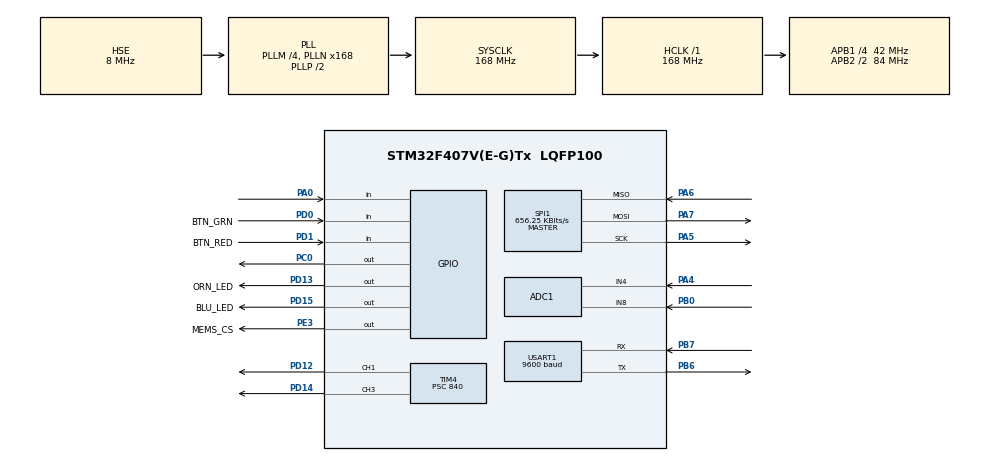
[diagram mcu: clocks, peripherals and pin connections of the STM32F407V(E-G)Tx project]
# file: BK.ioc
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ADC1.Channel-0\#ChannelRegularConversion=ADC_CHANNEL_4
ADC1.Channel-1\#ChannelRegularConversion=ADC_CHANNEL_8
ADC1.ClockPrescaler=ADC_CLOCK_SYNC_PCLK_DIV8
ADC1.ContinuousConvMode=ENABLE
ADC1.DMAContinuousRequests=ENABLE
ADC1.NbrOfConversion=2
ADC1.NbrOfConversionFlag=1
ADC1.Rank-0\#ChannelRegularConversion=1
ADC1.Rank-1\#ChannelRegularConversion=2
ADC1.SamplingTime-0\#ChannelRegularConversion=ADC_SAMPLETIME_480CYCLES
ADC1.SamplingTime-1\#ChannelRegularConversion=ADC_SAMPLETIME_480CYCLES
ADC1.ScanConvMode=ENABLE
ADC1.master=1
Dma.ADC1.0.Direction=DMA_PERIPH_TO_MEMORY
Dma.ADC1.0.FIFOMode=DMA_FIFOMODE_DISABLE
Dma.ADC1.0.Instance=DMA2_Stream0
Dma.ADC1.0.MemDataAlignment=DMA_MDATAALIGN_WORD
Dma.ADC1.0.MemInc=DMA_MINC_ENABLE
Dma.ADC1.0.Mode=DMA_CIRCULAR
Dma.ADC1.0.PeriphDataAlignment=DMA_PDATAALIGN_WORD
Dma.ADC1.0.PeriphInc=DMA_PINC_DISABLE
Dma.ADC1.0.Priority=DMA_PRIORITY_LOW
Dma.Request0=ADC1
Mcu.Family=STM32F4
Mcu.Name=STM32F407V(E-G)Tx
Mcu.Package=LQFP100
NVIC.DMA2_Stream0_IRQn=true\:0\:0\:false\:false\:true\:false\:true
NVIC.PriorityGroup=NVIC_PRIORITYGROUP_0
NVIC.TIM2_IRQn=true\:0\:0\:false\:false\:true\:true\:true
NVIC.USART1_IRQn=true\:0\:0\:false\:false\:true\:true\:true
PA0-WKUP.Signal=GPIO_Input
PA4.Signal=ADCx_IN4
PA5.Mode=Full_Duplex_Master
PA5.Signal=SPI1_SCK
PA6.Mode=Full_Duplex_Master
PA6.Signal=SPI1_MISO
PA7.Mode=Full_Duplex_Master
PA7.Signal=SPI1_MOSI
PB0.Signal=ADCx_IN8
PB6.Mode=Asynchronous
PB6.Signal=USART1_TX
PB7.Mode=Asynchronous
PB7.Signal=USART1_RX
PC0.Signal=GPIO_Output
PD0.GPIO_Label=BTN_GRN
PD0.GPIO_PuPd=GPIO_PULLUP
PD0.Signal=GPIO_Input
PD1.GPIO_Label=BTN_RED
PD1.GPIO_PuPd=GPIO_PULLUP
PD1.Signal=GPIO_Input
PD12.Signal=S_TIM4_CH1
PD13.GPIO_Label=ORN_LED
PD13.Signal=GPIO_Output
PD14.Signal=S_TIM4_CH3
PD15.GPIO_Label=BLU_LED
PD15.Signal=GPIO_Output
PE3.GPIO_Label=MEMS_CS
PE3.Signal=GPIO_Output
PH0-OSC_IN.Mode=HSE-External-Oscillator
PH0-OSC_IN.Signal=RCC_OSC_IN
PH1-OSC_OUT.Mode=HSE-External-Oscillator
PH1-OSC_OUT.Signal=RCC_OSC_OUT
ProjectManager.HeapSize=0x200
ProjectManager.StackSize=0x400
ProjectManager.TargetToolchain=STM32CubeIDE
RCC.48MHZClocksFreq_Value=48000000
RCC.AHBFreq_Value=168000000
RCC.APB1CLKDivider=RCC_HCLK_DIV4
RCC.APB1Freq_Value=42000000
RCC.APB1TimFreq_Value=84000000
RCC.APB2CLKDivider=RCC_HCLK_DIV2
RCC.APB2Freq_Value=84000000
RCC.APB2TimFreq_Value=168000000
RCC.CortexFreq_Value=168000000
RCC.HCLKFreq_Value=168000000
RCC.HSE_VALUE=8000000
RCC.HSI_VALUE=16000000
RCC.LSE_VALUE=32768
RCC.PLLM=4
RCC.PLLN=168
RCC.PLLQ=7
RCC.PLLSourceVirtual=RCC_PLLSOURCE_HSE
RCC.SYSCLKFreq_VALUE=168000000
RCC.SYSCLKSource=RCC_SYSCLKSOURCE_PLLCLK
RCC.VCOOutputFreq_Value=336000000
SH.ADCx_IN4.0=ADC1_IN4,IN4
SH.ADCx_IN8.0=ADC1_IN8,IN8
SH.S_TIM4_CH1.0=TIM4_CH1,PWM Generation1 CH1
SH.S_TIM4_CH3.0=TIM4_CH3,PWM Generation3 CH3
SPI1.BaudRatePrescaler=SPI_BAUDRATEPRESCALER_128
SPI1.CalculateBaudRate=656.25 KBits/s
SPI1.Direction=SPI_DIRECTION_2LINES
SPI1.Mode=SPI_MODE_MASTER
SPI1.VirtualType=VM_MASTER
TIM2.Period=1
TIM2.Prescaler=42000
TIM4.Channel-PWM\ Generation1\ CH1=TIM_CHANNEL_1
TIM4.Channel-PWM\ Generation3\ CH3=TIM_CHANNEL_3
TIM4.Period=100
TIM4.Prescaler=840
TIM4.Pulse-PWM\ Generation1\ CH1=100
TIM4.Pulse-PWM\ Generation3\ CH3=100
TIM4.TIM_MasterOutputTrigger=TIM_TRGO_UPDATE
USART1.BaudRate=9600
USART1.VirtualMode=VM_ASYNC
VP_TIM2_VS_ClockSourceINT.Mode=Internal
VP_TIM4_VS_ClockSourceINT.Mode=Internal
board=STM32F407G-DISC1

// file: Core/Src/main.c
/* USER CODE BEGIN Header */
/**
  ******************************************************************************
  * @file           : main.c
  * @brief          : Main program body
  ******************************************************************************
  * @attention
  *
  * <h2><center>&copy; Copyright (c) 2020 STMicroelectronics.
  * All rights reserved.</center></h2>
  *
  * This software component is licensed by ST under Ultimate Liberty license
  * SLA0044, the "License"; You may not use this file except in compliance with
  * the License. You may obtain a copy of the License at:
  *                             www.st.com/SLA0044
  *
  ******************************************************************************
  */
/* USER CODE END Header */
#include "main.h"

/* USER CODE BEGIN Includes */
#include <stdio.h>
#include "MY_LIS3DSH.h"
/* USER CODE END Includes */

ADC_HandleTypeDef hadc1;
DMA_HandleTypeDef hdma_adc1;

SPI_HandleTypeDef hspi1;

TIM_HandleTypeDef htim2;
TIM_HandleTypeDef htim4;

UART_HandleTypeDef huart1;

/* USER CODE BEGIN PV */

//------------------------------------------------------------------------------------- UART variables
uint8_t U1_RxChar;

//------------------------------------------------------------------------------------- ADC variables
uint32_t ADC1_Values[2];							// DMA puts integer conversions here
float ADC1_4V;                        // We convert to volts and save it in these variables
float ADC1_8V;

// ------------ Utility Timer Variables
uint16_t B1dbTimer;
uint8_t B1Pressed_F;
uint8_t B1ActionTaken_F;
uint16_t B1HoldTime;

uint16_t BGrnDbTimer;
uint8_t BGrnPressed_F;
uint8_t BGrnActionTaken_F;
uint16_t BGrnHoldTime;

uint16_t BRedDbTimer;
uint8_t BRedPressed_F;
uint8_t BRedActionTaken_F;
uint16_t BRedHoldTime;

// msec Timing: Make utility timers 16-bit
uint16_t TestTimer;

// sec Timing
uint16_t SecsCounter;

// LED Direction
uint8_t LEDDirection = CLOCKWISE;
uint8_t LEDStates[] = { LED_RED, LED_BLU, LED_GRN, LED_ORN };
uint8_t LEDCount = 4;
uint8_t LEDStatesIndex = 0;
uint16_t LEDWaitTimeMs = 1000;

/* USER CODE END PV */

void SystemClock_Config(void);
static void MX_GPIO_Init(void);
static void MX_TIM2_Init(void);
static void MX_DMA_Init(void);
static void MX_ADC1_Init(void);
static void MX_USART1_UART_Init(void);
static void MX_SPI1_Init(void);
static void MX_TIM4_Init(void);
/* USER CODE BEGIN PFP */
void CheckSWs(void);
void CheckPots(void);
void SwitchLED(uint8_t oldState, uint8_t newState);
void UpdateLEDState(void);
void handleBtn1Pressed(void);
void handleBtnGrnPressed(void);
void handleBtnRedPressed(void);
void UpdateAccelerometerLEDState(void);
/* USER CODE END PFP */

/* USER CODE BEGIN 0 */

LIS3DSH_DataScaled myData;  // for accelerometer

/* USER CODE END 0 */

int main(void)
{
  /* USER CODE BEGIN 1 */
  char WorkStr[32];

  LIS3DSH_InitTypeDef myAccConfigDef;

  /* USER CODE END 1 */

  /* MCU Configuration--------------------------------------------------------*/

  /* Reset of all peripherals, Initializes the Flash interface and the Systick. */
  HAL_Init();

  /* Configure the system clock */
  SystemClock_Config();

  /* Initialize all configured peripherals */
  MX_GPIO_Init();
  MX_TIM2_Init();
  MX_DMA_Init();
  MX_ADC1_Init();
  MX_USART1_UART_Init();
  MX_SPI1_Init();
  MX_TIM4_Init();
  /* USER CODE BEGIN 2 */
  HAL_TIM_Base_Start_IT(&htim2);
  USART1->CR1 |= 1<<5;  //USART1_CR1_RE;  // Enable RXNE interrupt (receiver not empty)
  HAL_ADC_Start_DMA(&hadc1, (uint32_t *) ADC1_Values, 2);

  // Accelerometer...
  myAccConfigDef.dataRate = LIS3DSH_DATARATE_25;
  myAccConfigDef.fullScale = LIS3DSH_FULLSCALE_4;
  myAccConfigDef.antiAliasingBW = LIS3DSH_FILTER_BW_50;
  myAccConfigDef.enableAxes = LIS3DSH_XYZ_ENABLE;
  myAccConfigDef.interruptEnable = true;
  LIS3DSH_Init(&hspi1, &myAccConfigDef);

  LIS3DSH_X_calibrate(-1000.0, 980.0);
  LIS3DSH_Y_calibrate(-1020.0, 1040.0);
  LIS3DSH_Z_calibrate(-920.0, 1040.0);

  // TestTimer for Pulse Width Modulation
  HAL_TIM_PWM_Start(&htim4, TIM_CHANNEL_1);
  HAL_TIM_PWM_Start(&htim4, TIM_CHANNEL_3);

  TestTimer = 1000;
  TIM4-> CCR1 = 100;
  TIM4-> CCR3 = 0;

  /* USER CODE END 2 */

  /* Infinite loop */
  while (1)
  {

    /* USER CODE BEGIN 3 */

    if(LIS3DSH_PollDRDY(1000) == true)
    {
      myData = LIS3DSH_GetDataScaled();
//      HAL_GPIO_TogglePin(GPIOD, GPIO_PIN_12);
    }

    if (!TestTimer)
    {
      TestTimer = 1000;
      if ( TIM4->CCR1 <= 90 )
        TIM4->CCR1 += 10;
      else
        TIM4->CCR1 = 0;

      if ( TIM4->CCR3 >= 10 )
        TIM4->CCR3 -= 10;
      else
        TIM4->CCR3 = 100;
    }

//    CheckPots();
//    CheckSWs();
//    UpdateAccelerometerLEDState();
//    UpdateLEDState();

  }
  /* USER CODE END 3 */
}

void SystemClock_Config(void)
{
  RCC_OscInitTypeDef RCC_OscInitStruct = {0};
  RCC_ClkInitTypeDef RCC_ClkInitStruct = {0};

  /** Configure the main internal regulator output voltage
  */
  __HAL_RCC_PWR_CLK_ENABLE();
  __HAL_PWR_VOLTAGESCALING_CONFIG(PWR_REGULATOR_VOLTAGE_SCALE1);
  /** Initializes the RCC Oscillators according to the specified parameters
  * in the RCC_OscInitTypeDef structure.
  */
  RCC_OscInitStruct.OscillatorType = RCC_OSCILLATORTYPE_HSE;
  RCC_OscInitStruct.HSEState = RCC_HSE_ON;
  RCC_OscInitStruct.PLL.PLLState = RCC_PLL_ON;
  RCC_OscInitStruct.PLL.PLLSource = RCC_PLLSOURCE_HSE;
  RCC_OscInitStruct.PLL.PLLM = 4;
  RCC_OscInitStruct.PLL.PLLN = 168;
  RCC_OscInitStruct.PLL.PLLP = RCC_PLLP_DIV2;
  RCC_OscInitStruct.PLL.PLLQ = 7;
  if (HAL_RCC_OscConfig(&RCC_OscInitStruct) != HAL_OK)
  {
    Error_Handler();
  }
  /** Initializes the CPU, AHB and APB buses clocks
  */
  RCC_ClkInitStruct.ClockType = RCC_CLOCKTYPE_HCLK|RCC_CLOCKTYPE_SYSCLK
                              |RCC_CLOCKTYPE_PCLK1|RCC_CLOCKTYPE_PCLK2;
  RCC_ClkInitStruct.SYSCLKSource = RCC_SYSCLKSOURCE_PLLCLK;
  RCC_ClkInitStruct.AHBCLKDivider = RCC_SYSCLK_DIV1;
  RCC_ClkInitStruct.APB1CLKDivider = RCC_HCLK_DIV4;
  RCC_ClkInitStruct.APB2CLKDivider = RCC_HCLK_DIV2;

  if (HAL_RCC_ClockConfig(&RCC_ClkInitStruct, FLASH_LATENCY_5) != HAL_OK)
  {
    Error_Handler();
  }
}

static void MX_ADC1_Init(void)
{

  ADC_ChannelConfTypeDef sConfig = {0};

  /** Configure the global features of the ADC (Clock, Resolution, Data Alignment and number of conversion)
  */
  hadc1.Instance = ADC1;
  hadc1.Init.ClockPrescaler = ADC_CLOCK_SYNC_PCLK_DIV8;
  hadc1.Init.Resolution = ADC_RESOLUTION_12B;
  hadc1.Init.ScanConvMode = ENABLE;
  hadc1.Init.ContinuousConvMode = ENABLE;
  hadc1.Init.DiscontinuousConvMode = DISABLE;
  hadc1.Init.ExternalTrigConvEdge = ADC_EXTERNALTRIGCONVEDGE_NONE;
  hadc1.Init.ExternalTrigConv = ADC_SOFTWARE_START;
  hadc1.Init.DataAlign = ADC_DATAALIGN_RIGHT;
  hadc1.Init.NbrOfConversion = 2;
  hadc1.Init.DMAContinuousRequests = ENABLE;
  hadc1.Init.EOCSelection = ADC_EOC_SINGLE_CONV;
  if (HAL_ADC_Init(&hadc1) != HAL_OK)
  {
    Error_Handler();
  }
  /** Configure for the selected ADC regular channel its corresponding rank in the sequencer and its sample time.
  */
  sConfig.Channel = ADC_CHANNEL_4;
  sConfig.Rank = 1;
  sConfig.SamplingTime = ADC_SAMPLETIME_480CYCLES;
  if (HAL_ADC_ConfigChannel(&hadc1, &sConfig) != HAL_OK)
  {
    Error_Handler();
  }
  /** Configure for the selected ADC regular channel its corresponding rank in the sequencer and its sample time.
  */
  sConfig.Channel = ADC_CHANNEL_8;
  sConfig.Rank = 2;
  if (HAL_ADC_ConfigChannel(&hadc1, &sConfig) != HAL_OK)
  {
    Error_Handler();
  }

}

static void MX_SPI1_Init(void)
{

  /* SPI1 parameter configuration*/
  hspi1.Instance = SPI1;
  hspi1.Init.Mode = SPI_MODE_MASTER;
  hspi1.Init.Direction = SPI_DIRECTION_2LINES;
  hspi1.Init.DataSize = SPI_DATASIZE_8BIT;
  hspi1.Init.CLKPolarity = SPI_POLARITY_LOW;
  hspi1.Init.CLKPhase = SPI_PHASE_1EDGE;
  hspi1.Init.NSS = SPI_NSS_SOFT;
  hspi1.Init.BaudRatePrescaler = SPI_BAUDRATEPRESCALER_128;
  hspi1.Init.FirstBit = SPI_FIRSTBIT_MSB;
  hspi1.Init.TIMode = SPI_TIMODE_DISABLE;
  hspi1.Init.CRCCalculation = SPI_CRCCALCULATION_DISABLE;
  hspi1.Init.CRCPolynomial = 10;
  if (HAL_SPI_Init(&hspi1) != HAL_OK)
  {
    Error_Handler();
  }

}

static void MX_TIM2_Init(void)
{

  TIM_ClockConfigTypeDef sClockSourceConfig = {0};
  TIM_MasterConfigTypeDef sMasterConfig = {0};

  htim2.Instance = TIM2;
  htim2.Init.Prescaler = 42000;
  htim2.Init.CounterMode = TIM_COUNTERMODE_UP;
  htim2.Init.Period = 1;
  htim2.Init.ClockDivision = TIM_CLOCKDIVISION_DIV1;
  htim2.Init.AutoReloadPreload = TIM_AUTORELOAD_PRELOAD_DISABLE;
  if (HAL_TIM_Base_Init(&htim2) != HAL_OK)
  {
    Error_Handler();
  }
  sClockSourceConfig.ClockSource = TIM_CLOCKSOURCE_INTERNAL;
  if (HAL_TIM_ConfigClockSource(&htim2, &sClockSourceConfig) != HAL_OK)
  {
    Error_Handler();
  }
  sMasterConfig.MasterOutputTrigger = TIM_TRGO_RESET;
  sMasterConfig.MasterSlaveMode = TIM_MASTERSLAVEMODE_DISABLE;
  if (HAL_TIMEx_MasterConfigSynchronization(&htim2, &sMasterConfig) != HAL_OK)
  {
    Error_Handler();
  }

}

static void MX_TIM4_Init(void)
{

  TIM_ClockConfigTypeDef sClockSourceConfig = {0};
  TIM_MasterConfigTypeDef sMasterConfig = {0};
  TIM_OC_InitTypeDef sConfigOC = {0};

  htim4.Instance = TIM4;
  htim4.Init.Prescaler = 840;
  htim4.Init.CounterMode = TIM_COUNTERMODE_UP;
  htim4.Init.Period = 100;
  htim4.Init.ClockDivision = TIM_CLOCKDIVISION_DIV1;
  htim4.Init.AutoReloadPreload = TIM_AUTORELOAD_PRELOAD_DISABLE;
  if (HAL_TIM_Base_Init(&htim4) != HAL_OK)
  {
    Error_Handler();
  }
  sClockSourceConfig.ClockSource = TIM_CLOCKSOURCE_INTERNAL;
  if (HAL_TIM_ConfigClockSource(&htim4, &sClockSourceConfig) != HAL_OK)
  {
    Error_Handler();
  }
  if (HAL_TIM_PWM_Init(&htim4) != HAL_OK)
  {
    Error_Handler();
  }
  sMasterConfig.MasterOutputTrigger = TIM_TRGO_UPDATE;
  sMasterConfig.MasterSlaveMode = TIM_MASTERSLAVEMODE_DISABLE;
  if (HAL_TIMEx_MasterConfigSynchronization(&htim4, &sMasterConfig) != HAL_OK)
  {
    Error_Handler();
  }
  sConfigOC.OCMode = TIM_OCMODE_PWM1;
  sConfigOC.Pulse = 100;
  sConfigOC.OCPolarity = TIM_OCPOLARITY_HIGH;
  sConfigOC.OCFastMode = TIM_OCFAST_DISABLE;
  if (HAL_TIM_PWM_ConfigChannel(&htim4, &sConfigOC, TIM_CHANNEL_1) != HAL_OK)
  {
    Error_Handler();
  }
  if (HAL_TIM_PWM_ConfigChannel(&htim4, &sConfigOC, TIM_CHANNEL_3) != HAL_OK)
  {
    Error_Handler();
  }
  HAL_TIM_MspPostInit(&htim4);

}

static void MX_USART1_UART_Init(void)
{

  huart1.Instance = USART1;
  huart1.Init.BaudRate = 9600;
  huart1.Init.WordLength = UART_WORDLENGTH_8B;
  huart1.Init.StopBits = UART_STOPBITS_1;
  huart1.Init.Parity = UART_PARITY_NONE;
  huart1.Init.Mode = UART_MODE_TX_RX;
  huart1.Init.HwFlowCtl = UART_HWCONTROL_NONE;
  huart1.Init.OverSampling = UART_OVERSAMPLING_16;
  if (HAL_UART_Init(&huart1) != HAL_OK)
  {
    Error_Handler();
  }

}

static void MX_DMA_Init(void)
{

  /* DMA controller clock enable */
  __HAL_RCC_DMA2_CLK_ENABLE();

  /* DMA interrupt init */
  /* DMA2_Stream0_IRQn interrupt configuration */
  HAL_NVIC_SetPriority(DMA2_Stream0_IRQn, 0, 0);
  HAL_NVIC_EnableIRQ(DMA2_Stream0_IRQn);

}

static void MX_GPIO_Init(void)
{
  GPIO_InitTypeDef GPIO_InitStruct = {0};

  /* GPIO Ports Clock Enable */
  __HAL_RCC_GPIOE_CLK_ENABLE();
  __HAL_RCC_GPIOH_CLK_ENABLE();
  __HAL_RCC_GPIOC_CLK_ENABLE();
  __HAL_RCC_GPIOA_CLK_ENABLE();
  __HAL_RCC_GPIOB_CLK_ENABLE();
  __HAL_RCC_GPIOD_CLK_ENABLE();

  /*Configure GPIO pin Output Level */
  HAL_GPIO_WritePin(MEMS_CS_GPIO_Port, MEMS_CS_Pin, GPIO_PIN_RESET);

  /*Configure GPIO pin Output Level */
  HAL_GPIO_WritePin(GPIOC, GPIO_PIN_0, GPIO_PIN_RESET);

  /*Configure GPIO pin Output Level */
  HAL_GPIO_WritePin(GPIOD, ORN_LED_Pin|BLU_LED_Pin, GPIO_PIN_RESET);

  /*Configure GPIO pin : MEMS_CS_Pin */
  GPIO_InitStruct.Pin = MEMS_CS_Pin;
  GPIO_InitStruct.Mode = GPIO_MODE_OUTPUT_PP;
  GPIO_InitStruct.Pull = GPIO_NOPULL;
  GPIO_InitStruct.Speed = GPIO_SPEED_FREQ_LOW;
  HAL_GPIO_Init(MEMS_CS_GPIO_Port, &GPIO_InitStruct);

  /*Configure GPIO pin : PC0 */
  GPIO_InitStruct.Pin = GPIO_PIN_0;
  GPIO_InitStruct.Mode = GPIO_MODE_OUTPUT_PP;
  GPIO_InitStruct.Pull = GPIO_NOPULL;
  GPIO_InitStruct.Speed = GPIO_SPEED_FREQ_LOW;
  HAL_GPIO_Init(GPIOC, &GPIO_InitStruct);

  /*Configure GPIO pin : PA0 */
  GPIO_InitStruct.Pin = GPIO_PIN_0;
  GPIO_InitStruct.Mode = GPIO_MODE_INPUT;
  GPIO_InitStruct.Pull = GPIO_NOPULL;
  HAL_GPIO_Init(GPIOA, &GPIO_InitStruct);

  /*Configure GPIO pins : ORN_LED_Pin BLU_LED_Pin */
  GPIO_InitStruct.Pin = ORN_LED_Pin|BLU_LED_Pin;
  GPIO_InitStruct.Mode = GPIO_MODE_OUTPUT_PP;
  GPIO_InitStruct.Pull = GPIO_NOPULL;
  GPIO_InitStruct.Speed = GPIO_SPEED_FREQ_LOW;
  HAL_GPIO_Init(GPIOD, &GPIO_InitStruct);

  /*Configure GPIO pins : BTN_GRN_Pin BTN_RED_Pin */
  GPIO_InitStruct.Pin = BTN_GRN_Pin|BTN_RED_Pin;
  GPIO_InitStruct.Mode = GPIO_MODE_INPUT;
  GPIO_InitStruct.Pull = GPIO_PULLUP;
  HAL_GPIO_Init(GPIOD, &GPIO_InitStruct);

}

/* USER CODE BEGIN 4 */
// Use TIM2 as 1ms utility timer...
void HAL_TIM_PeriodElapsedCallback(TIM_HandleTypeDef *htim)
{
	// --------------------------------------------
	// Millisecond timers:
	// --------------------------------------------

	// These timers can be disabled... Set the timer to TIMER_DISABLE (Defined as 0xFFFFFF) and then
	if (TestTimer)
		TestTimer--;

	++SecsCounter;
	if ( SecsCounter == 1000)
	{
		SecsCounter = 0;

		// Handle any 1 sec events or counters...
	}

	if ( B1 != BUTTON_PRESSED)
	{
		B1dbTimer = 0;
		B1Pressed_F = FALSE;
	}
	else
	{
		if (B1dbTimer < 255)
			++B1dbTimer;
		if ( B1dbTimer > DB_TIME )
			B1Pressed_F = TRUE;

	}

	if ( B_GRN != B_GRN_PRESSED)
	{
		BGrnDbTimer = 0;
		BGrnPressed_F = FALSE;
	}
	else
	{
		if (BGrnDbTimer < 255)
			++BGrnDbTimer;
		if ( BGrnDbTimer > DB_TIME )
			BGrnPressed_F = TRUE;
	}

	if ( B_RED != B_RED_PRESSED)
	{
		BRedDbTimer = 0;
		BRedPressed_F = FALSE;
	}
	else
	{
		if (BRedDbTimer < 255)
			++BRedDbTimer;
		if ( BRedDbTimer > DB_TIME )
			BRedPressed_F = TRUE;
	}

	LED_Timer++;
}

void CheckSWs(void)
{
	if (B1Pressed_F && !B1ActionTaken_F)
	{
		handleBtn1Pressed();
		B1ActionTaken_F = TRUE;
	}
	else if ( !B1Pressed_F && (B1ActionTaken_F))
	{
		B1ActionTaken_F = FALSE;
	}

	if (BGrnPressed_F && !BGrnActionTaken_F)
	{
		handleBtnGrnPressed();
		BGrnActionTaken_F = TRUE;
	}
	else if ( !BGrnPressed_F && (BGrnActionTaken_F))
	{
		BGrnActionTaken_F = FALSE;
	}

	if (BRedPressed_F && !BRedActionTaken_F)
	{
		handleBtnRedPressed();
		BRedActionTaken_F = TRUE;
	}
	else if ( !BRedPressed_F && (BRedActionTaken_F))
	{

		BRedActionTaken_F = FALSE;
	}
}

void CheckPots(void)
{
  LEDWaitTimeMs = abs((uint16_t) (1000.0 - (ADC1_4V / 3.3) * 1000.0));
}

void handleBtnRedPressed(void)
{
	if (LEDDirection == CLOCKWISE)
	{
		LEDDirection = COUNTERCLOCKWISE;
	}
	else
	{
		LEDDirection = CLOCKWISE;
	}
}

void handleBtnGrnPressed(void)
{
	if (LED_State == LED_IDLE)
	{
		LED_Start = TRUE;
		LED_Timer = 0;
	}
	else
	{
		GRN_LED_OFF();
		ORN_LED_OFF();
		RED_LED_OFF();
		BLU_LED_OFF();

		LED_Start = FALSE;
		LED_State = LED_IDLE;
	}
}

void handleBtn1Pressed(void)
{
	LED_Start = TRUE;
	LED_Timer = 0;
}

void UpdateLEDState(void)
{
	// Place "always" code here then check each state
	if (LED_State == LED_IDLE)
	{
		if (LED_Start)
		{
			LED_Start = FALSE;
			RED_LED_ON();
			LED_State = LED_RED;
			LED_Timer = 0;
		}
	}
	else if (LED_Timer > LEDWaitTimeMs)
	{
		if (LEDDirection == CLOCKWISE)
		{
			LEDStatesIndex++;

			// IF it's at the end of the array, start over
			if (LEDStatesIndex >= LEDCount)
			{
				LEDStatesIndex = 0;
			}
		}
		// ELSE LEDDirection == COUNTERCLOCKWISE
		else
		{
			if (LEDStatesIndex == 0)
			{
				LEDStatesIndex = LEDCount - 1;
			}
			else
			{
				LEDStatesIndex--;
			}
		}
		SwitchLED(LED_State, LEDStates[LEDStatesIndex]);
		LED_Timer = 0;
	}
}

void SwitchLED(uint8_t oldState, uint8_t newState)
{
	switch (oldState) {
	case LED_RED:
		RED_LED_OFF();
		break;
	case LED_BLU:
		BLU_LED_OFF();
		break;
	case LED_GRN:
		GRN_LED_OFF();
		break;
	case LED_ORN:
		ORN_LED_OFF();
		break;
	}

	switch (newState) {
	case LED_RED:
		RED_LED_ON();
		break;
	case LED_BLU:
		BLU_LED_ON();
		break;
	case LED_GRN:
		GRN_LED_ON();
		break;
	case LED_ORN:
		ORN_LED_ON();
		break;
	}
	LED_State = newState;
}

void UpdateAccelerometerLEDState(void)
{
  if (myData.x < -100)
  {
    GRN_LED_ON();
  }
  else
  {
    GRN_LED_OFF();
  }

  if (myData.x > 100)
  {
    RED_LED_ON();
  }
  else
  {
    RED_LED_OFF();
  }

  if (myData.y < -100)
  {
    BLU_LED_ON();
  }
  else
  {
    BLU_LED_OFF();
  }

  if (myData.y > 100)
  {
    ORN_LED_ON();
  }
  else
  {
    ORN_LED_OFF();
  }
}

/* USER CODE END 4 */

void Error_Handler(void)
{
}

/************************ (C) COPYRIGHT STMicroelectronics *****END OF FILE****/
